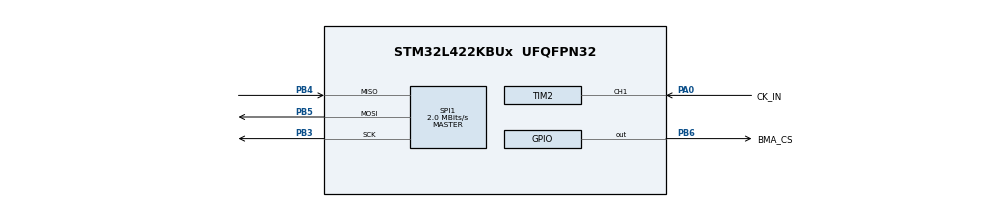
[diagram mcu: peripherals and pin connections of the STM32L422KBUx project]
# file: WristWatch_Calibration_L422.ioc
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Mcu.Family=STM32L4
Mcu.Name=STM32L422KBUx
Mcu.Package=UFQFPN32
NVIC.PriorityGroup=NVIC_PRIORITYGROUP_4
NVIC.TIM2_IRQn=true\:0\:0\:false\:false\:true\:true\:true
PA0-CK_IN.GPIO_Label=CK_IN
PA0-CK_IN.Signal=S_TIM2_CH1
PA13\ (JTMS/SWDIO).Mode=Serial_Wire
PA13\ (JTMS/SWDIO).Signal=SYS_JTMS-SWDIO
PA14\ (JTCK/SWCLK).Mode=Serial_Wire
PA14\ (JTCK/SWCLK).Signal=SYS_JTCK-SWCLK
PB3\ (JTDO/TRACESWO).Mode=Full_Duplex_Master
PB3\ (JTDO/TRACESWO).Signal=SPI1_SCK
PB4\ (NJTRST).Mode=Full_Duplex_Master
PB4\ (NJTRST).Signal=SPI1_MISO
PB5.Mode=Full_Duplex_Master
PB5.Signal=SPI1_MOSI
PB6.GPIO_Label=BMA_CS
PB6.Signal=GPIO_Output
PC14-OSC32_IN\ (PC14).Mode=LSE-External-Oscillator
PC14-OSC32_IN\ (PC14).Signal=RCC_OSC32_IN
PC15-OSC32_OUT\ (PC15).Mode=LSE-External-Oscillator
PC15-OSC32_OUT\ (PC15).Signal=RCC_OSC32_OUT
ProjectManager.HeapSize=0x200
ProjectManager.StackSize=0x400
ProjectManager.TargetToolchain=STM32CubeIDE
RCC.ADCFreq_Value=4000000
RCC.HSE_VALUE=8000000
RCC.HSI48_VALUE=48000000
RCC.HSICalibrationValue=64
RCC.HSI_VALUE=16000000
RCC.MSI_VALUE=4000000
RCC.USBFreq_Value=4000000
RCC.VCOOutputFreq_Value=32000000
SH.S_TIM2_CH1.0=TIM2_CH1,Input_Capture1_from_TI1
SPI1.CalculateBaudRate=2.0 MBits/s
SPI1.DataSize=SPI_DATASIZE_8BIT
SPI1.Direction=SPI_DIRECTION_2LINES
SPI1.Mode=SPI_MODE_MASTER
SPI1.VirtualType=VM_MASTER
TIM2.Channel-Input_Capture1_from_TI1=TIM_CHANNEL_1
VP_RTC_VS_RTC_Activate.Mode=RTC_Enabled
VP_TIM2_VS_NoETR.Mode=ClockSourceETR_Mode2_Remap_TIM2
board=custom

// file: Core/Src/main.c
/* USER CODE BEGIN Header */
/**
 ******************************************************************************
 * @file           : main.c
 * @brief          : Main program body
 ******************************************************************************
 * @attention
 *
 * <h2><center>&copy; Copyright (c) 2020 STMicroelectronics.
 * All rights reserved.</center></h2>
 *
 * This software component is licensed by ST under BSD 3-Clause license,
 * the "License"; You may not use this file except in compliance with the
 * License. You may obtain a copy of the License at:
 *                        opensource.org/licenses/BSD-3-Clause
 *
 ******************************************************************************
 */
/* USER CODE END Header */
#include "main.h"

#define Undefined 0xFFFFUL
#define Binary_STM_V1 0x0100UL
#define Binary_STM_V2_LIPO 0x0101UL
#define Analog_STM_V1 0x0200UL
extern const uint32_t WatchVariant;// = Binary_STM_V1;

RTC_HandleTypeDef hrtc;

SPI_HandleTypeDef hspi1;

TIM_HandleTypeDef htim2;

void SystemClock_Config(void);
static void MX_GPIO_Init(void);
static void MX_RTC_Init(void);
static void MX_SPI1_Init(void);
static void MX_TIM2_Init(void);

/* USER CODE BEGIN 0 */
enum {
	Init, TestLEDs, WaitForTimer, Finished, Error
} State = Init;
uint8_t Errortype = 0;
uint8_t ErrorVar = 0;
const uint8_t LED_Brightness = 240;

//Maximum of 130000

int16_t SecondsElapsed = -1;
uint32_t startMeasure = 0;
uint32_t endMeasure = 0;
int64_t diffperppm = 0;

const uint32_t Timerrun_offset = 0x8000 * 8; //Prediv 8

void HAL_TIM_IC_CaptureCallback(TIM_HandleTypeDef *htim) {
	/* Prevent unused argument(s) compilation warning */

	if(SecondsElapsed == -1)
	{
		startMeasure = HAL_TIM_ReadCapturedValue(htim, TIM_CHANNEL_1);
		SecondsElapsed=1;
	}
	else if(SecondsElapsed == secondsToMeasure)
	{
		endMeasure = HAL_TIM_ReadCapturedValue(htim, TIM_CHANNEL_1);
		SecondsElapsed++;
	}
	else if(SecondsElapsed > secondsToMeasure)
	{

	}
	else
	{
		SecondsElapsed++;
	}

}

/* USER CODE END 0 */
int main(void)
{

  /* MCU Configuration--------------------------------------------------------*/

  /* Reset of all peripherals, Initializes the Flash interface and the Systick. */
  HAL_Init();

  /* USER CODE BEGIN Init */
  if(0)//just to get rid of warnings
  {
	  MX_GPIO_Init();
	  MX_SPI1_Init();
  }
  uint64_t WatchVersCode = *((uint64_t*) WatchVersCodeAddress);
  if((WatchVersCode&0xFFFF) == Undefined)
  {
	  writeFlash(FLASH_BASE + FLASH_SIZE - FLASH_PAGE_SIZE + 0x10, WatchVariant);
  }

  /* USER CODE END Init */

  /* Configure the system clock */
  SystemClock_Config();

  /* Initialize all configured peripherals */
  MX_GPIO_Init();
  MX_RTC_Init();
  MX_SPI1_Init();
  MX_TIM2_Init();
  /* USER CODE BEGIN 2 */
	DWT_Delay_Init();
	init_IOs();
  /* USER CODE END 2 */

  /* Infinite loop */
  /* USER CODE BEGIN WHILE */
	HAL_TIM_Base_MspInit(&htim2);
	if (HAL_TIM_IC_Start_IT(&htim2, TIM_CHANNEL_1) != HAL_OK) {
		Error_Handler();
		State = Error;
	}
	State = TestLEDs;
	while (1) {
		switch (State) {
		case Error:
			init_IOs();
			showError();
			break;
		case Finished:
			showFinish();
			break;
		case Init:
		case TestLEDs:
			testLEDs();
			if (HAL_GetTick() > 10000)
				State = WaitForTimer;
			break;
		case WaitForTimer:
			if(endMeasure!=0)
			{
				const uint32_t measuredClks = endMeasure -startMeasure;
				const uint32_t calculatedClks = 0x8000*secondsToMeasure;

				const int64_t difference = ((int64_t)calculatedClks-measuredClks);
				int64_t diffperppm1 = (difference*1000000);
				if(diffperppm1<0)//round the Value
					diffperppm1 -= (measuredClks/2);
				else
					diffperppm1 += (measuredClks/2);
				diffperppm = (int64_t)diffperppm1/(int64_t)measuredClks;
				if(diffperppm < 512 && diffperppm > -511)
								{
									uint16_t CALM = 0;
									uint16_t CALP = RTC_SMOOTHCALIB_PLUSPULSES_RESET;
									if (diffperppm > 0) {
										CALP = RTC_SMOOTHCALIB_PLUSPULSES_SET;
										CALM = 512 - diffperppm;
									} else {
										CALM = -diffperppm;
									}
									uint32_t EEPVAL = CALP | CALM;
									writeFlash(FLASH_BASE + FLASH_SIZE - FLASH_PAGE_SIZE, EEPVAL); //Write CalibrationValue to beginning of last Page
									HAL_RTCEx_SetSmoothCalib(&hrtc, RTC_SMOOTHCALIB_PERIOD_32SEC, CALP, CALM);//Correct RTC Immediately, to make sure the values are used even without POR
									//Note CALP, CALM, DEVID and REVID for the STM32L4_HAL.cpp File
									//__asm__("BKPT");
									State=Finished;
								}
								else
								{
									State = Error;
								}

			}
		else {
				uint16_t TimeToGo = secondsToMeasure-SecondsElapsed;
				showRemainingTime(TimeToGo);
			}
			break;

		}
    /* USER CODE END WHILE */

	}
}

void SystemClock_Config(void)
{
  RCC_OscInitTypeDef RCC_OscInitStruct = {0};
  RCC_ClkInitTypeDef RCC_ClkInitStruct = {0};

  /** Configure the main internal regulator output voltage
  */
  if (HAL_PWREx_ControlVoltageScaling(PWR_REGULATOR_VOLTAGE_SCALE1) != HAL_OK)
  {
    Error_Handler();
  }
  /** Configure LSE Drive Capability
  */
  HAL_PWR_EnableBkUpAccess();
  __HAL_RCC_LSEDRIVE_CONFIG(RCC_LSEDRIVE_LOW);
  /** Initializes the RCC Oscillators according to the specified parameters
  * in the RCC_OscInitTypeDef structure.
  */
  RCC_OscInitStruct.OscillatorType = RCC_OSCILLATORTYPE_LSI|RCC_OSCILLATORTYPE_LSE
                              |RCC_OSCILLATORTYPE_MSI;
  RCC_OscInitStruct.LSEState = RCC_LSE_ON;
  RCC_OscInitStruct.LSIState = RCC_LSI_ON;
  RCC_OscInitStruct.MSIState = RCC_MSI_ON;
  RCC_OscInitStruct.MSICalibrationValue = 0;
  RCC_OscInitStruct.MSIClockRange = RCC_MSIRANGE_6;
  RCC_OscInitStruct.PLL.PLLState = RCC_PLL_NONE;
  if (HAL_RCC_OscConfig(&RCC_OscInitStruct) != HAL_OK)
  {
    Error_Handler();
  }
  /** Initializes the CPU, AHB and APB buses clocks
  */
  RCC_ClkInitStruct.ClockType = RCC_CLOCKTYPE_HCLK|RCC_CLOCKTYPE_SYSCLK
                              |RCC_CLOCKTYPE_PCLK1|RCC_CLOCKTYPE_PCLK2;
  RCC_ClkInitStruct.SYSCLKSource = RCC_SYSCLKSOURCE_MSI;
  RCC_ClkInitStruct.AHBCLKDivider = RCC_SYSCLK_DIV1;
  RCC_ClkInitStruct.APB1CLKDivider = RCC_HCLK_DIV1;
  RCC_ClkInitStruct.APB2CLKDivider = RCC_HCLK_DIV1;

  if (HAL_RCC_ClockConfig(&RCC_ClkInitStruct, FLASH_LATENCY_0) != HAL_OK)
  {
    Error_Handler();
  }
  /** Enable MSI Auto calibration
  */
  HAL_RCCEx_EnableMSIPLLMode();
}

static void MX_RTC_Init(void)
{

  /** Initialize RTC Only
  */
  hrtc.Instance = RTC;
  hrtc.Init.HourFormat = RTC_HOURFORMAT_24;
  hrtc.Init.AsynchPrediv = 127;
  hrtc.Init.SynchPrediv = 255;
  hrtc.Init.OutPut = RTC_OUTPUT_DISABLE;
  hrtc.Init.OutPutRemap = RTC_OUTPUT_REMAP_NONE;
  hrtc.Init.OutPutPolarity = RTC_OUTPUT_POLARITY_HIGH;
  hrtc.Init.OutPutType = RTC_OUTPUT_TYPE_OPENDRAIN;
  hrtc.Init.OutPutPullUp = RTC_OUTPUT_PULLUP_NONE;
  if (HAL_RTC_Init(&hrtc) != HAL_OK)
  {
    Error_Handler();
  }

}

static void MX_SPI1_Init(void)
{

  /* SPI1 parameter configuration*/
  hspi1.Instance = SPI1;
  hspi1.Init.Mode = SPI_MODE_MASTER;
  hspi1.Init.Direction = SPI_DIRECTION_2LINES;
  hspi1.Init.DataSize = SPI_DATASIZE_8BIT;
  hspi1.Init.CLKPolarity = SPI_POLARITY_LOW;
  hspi1.Init.CLKPhase = SPI_PHASE_1EDGE;
  hspi1.Init.NSS = SPI_NSS_SOFT;
  hspi1.Init.BaudRatePrescaler = SPI_BAUDRATEPRESCALER_2;
  hspi1.Init.FirstBit = SPI_FIRSTBIT_MSB;
  hspi1.Init.TIMode = SPI_TIMODE_DISABLE;
  hspi1.Init.CRCCalculation = SPI_CRCCALCULATION_DISABLE;
  hspi1.Init.CRCPolynomial = 7;
  hspi1.Init.CRCLength = SPI_CRC_LENGTH_DATASIZE;
  hspi1.Init.NSSPMode = SPI_NSS_PULSE_ENABLE;
  if (HAL_SPI_Init(&hspi1) != HAL_OK)
  {
    Error_Handler();
  }

}

static void MX_TIM2_Init(void)
{

  TIM_ClockConfigTypeDef sClockSourceConfig = {0};
  TIM_MasterConfigTypeDef sMasterConfig = {0};
  TIM_IC_InitTypeDef sConfigIC = {0};

  htim2.Instance = TIM2;
  htim2.Init.Prescaler = 0;
  htim2.Init.CounterMode = TIM_COUNTERMODE_UP;
  htim2.Init.Period = 4294967295;
  htim2.Init.ClockDivision = TIM_CLOCKDIVISION_DIV1;
  htim2.Init.AutoReloadPreload = TIM_AUTORELOAD_PRELOAD_DISABLE;
  if (HAL_TIM_Base_Init(&htim2) != HAL_OK)
  {
    Error_Handler();
  }
  sClockSourceConfig.ClockSource = TIM_CLOCKSOURCE_ETRMODE2;
  sClockSourceConfig.ClockPolarity = TIM_CLOCKPOLARITY_NONINVERTED;
  sClockSourceConfig.ClockPrescaler = TIM_CLOCKPRESCALER_DIV1;
  sClockSourceConfig.ClockFilter = 0;
  if (HAL_TIM_ConfigClockSource(&htim2, &sClockSourceConfig) != HAL_OK)
  {
    Error_Handler();
  }
  if (HAL_TIM_IC_Init(&htim2) != HAL_OK)
  {
    Error_Handler();
  }
  sMasterConfig.MasterOutputTrigger = TIM_TRGO_RESET;
  sMasterConfig.MasterSlaveMode = TIM_MASTERSLAVEMODE_DISABLE;
  if (HAL_TIMEx_MasterConfigSynchronization(&htim2, &sMasterConfig) != HAL_OK)
  {
    Error_Handler();
  }
  if (HAL_TIMEx_RemapConfig(&htim2, TIM_TIM2_ITR1_USB_SOF|TIM_TIM2_ETR_LSE) != HAL_OK)
  {
    Error_Handler();
  }
  sConfigIC.ICPolarity = TIM_INPUTCHANNELPOLARITY_RISING;
  sConfigIC.ICSelection = TIM_ICSELECTION_DIRECTTI;
  sConfigIC.ICPrescaler = TIM_ICPSC_DIV1;
  sConfigIC.ICFilter = 0;
  if (HAL_TIM_IC_ConfigChannel(&htim2, &sConfigIC, TIM_CHANNEL_1) != HAL_OK)
  {
    Error_Handler();
  }

}

static void MX_GPIO_Init(void)
{
  GPIO_InitTypeDef GPIO_InitStruct = {0};

  /* GPIO Ports Clock Enable */
  __HAL_RCC_GPIOC_CLK_ENABLE();
  __HAL_RCC_GPIOA_CLK_ENABLE();
  __HAL_RCC_GPIOB_CLK_ENABLE();

  /*Configure GPIO pin Output Level */
  HAL_GPIO_WritePin(BMA_CS_GPIO_Port, BMA_CS_Pin, GPIO_PIN_RESET);

  /*Configure GPIO pin : BMA_CS_Pin */
  GPIO_InitStruct.Pin = BMA_CS_Pin;
  GPIO_InitStruct.Mode = GPIO_MODE_OUTPUT_PP;
  GPIO_InitStruct.Pull = GPIO_NOPULL;
  GPIO_InitStruct.Speed = GPIO_SPEED_FREQ_LOW;
  HAL_GPIO_Init(BMA_CS_GPIO_Port, &GPIO_InitStruct);

}

void Error_Handler(void)
{
}
